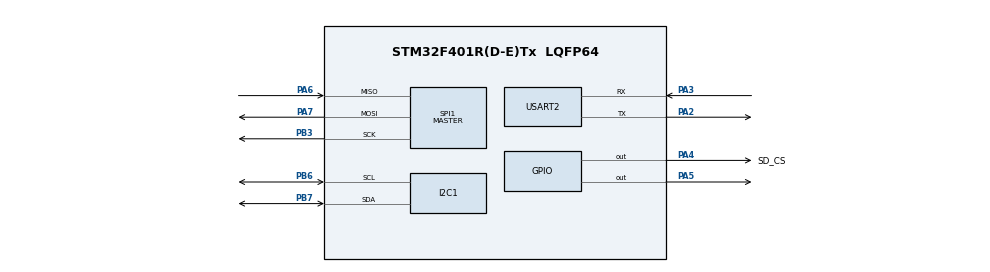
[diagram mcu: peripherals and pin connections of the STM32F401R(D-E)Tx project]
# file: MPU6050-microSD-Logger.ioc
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Dma.I2C1_RX.0.Direction=DMA_PERIPH_TO_MEMORY
Dma.I2C1_RX.0.FIFOMode=DMA_FIFOMODE_DISABLE
Dma.I2C1_RX.0.Instance=DMA1_Stream0
Dma.I2C1_RX.0.MemDataAlignment=DMA_MDATAALIGN_BYTE
Dma.I2C1_RX.0.MemInc=DMA_MINC_ENABLE
Dma.I2C1_RX.0.Mode=DMA_NORMAL
Dma.I2C1_RX.0.PeriphDataAlignment=DMA_PDATAALIGN_BYTE
Dma.I2C1_RX.0.PeriphInc=DMA_PINC_DISABLE
Dma.I2C1_RX.0.Priority=DMA_PRIORITY_MEDIUM
Dma.I2C1_TX.1.Direction=DMA_MEMORY_TO_PERIPH
Dma.I2C1_TX.1.FIFOMode=DMA_FIFOMODE_DISABLE
Dma.I2C1_TX.1.Instance=DMA1_Stream7
Dma.I2C1_TX.1.MemDataAlignment=DMA_MDATAALIGN_BYTE
Dma.I2C1_TX.1.MemInc=DMA_MINC_ENABLE
Dma.I2C1_TX.1.Mode=DMA_NORMAL
Dma.I2C1_TX.1.PeriphDataAlignment=DMA_PDATAALIGN_BYTE
Dma.I2C1_TX.1.PeriphInc=DMA_PINC_DISABLE
Dma.I2C1_TX.1.Priority=DMA_PRIORITY_LOW
Dma.Request0=I2C1_RX
Dma.Request1=I2C1_TX
Dma.Request2=SPI1_RX
Dma.Request3=SPI1_TX
Dma.Request4=USART2_RX
Dma.Request5=USART2_TX
Dma.SPI1_RX.2.Direction=DMA_PERIPH_TO_MEMORY
Dma.SPI1_RX.2.FIFOMode=DMA_FIFOMODE_DISABLE
Dma.SPI1_RX.2.Instance=DMA2_Stream0
Dma.SPI1_RX.2.MemDataAlignment=DMA_MDATAALIGN_BYTE
Dma.SPI1_RX.2.MemInc=DMA_MINC_ENABLE
Dma.SPI1_RX.2.Mode=DMA_NORMAL
Dma.SPI1_RX.2.PeriphDataAlignment=DMA_PDATAALIGN_BYTE
Dma.SPI1_RX.2.PeriphInc=DMA_PINC_DISABLE
Dma.SPI1_RX.2.Priority=DMA_PRIORITY_LOW
Dma.SPI1_TX.3.Direction=DMA_MEMORY_TO_PERIPH
Dma.SPI1_TX.3.FIFOMode=DMA_FIFOMODE_DISABLE
Dma.SPI1_TX.3.Instance=DMA2_Stream3
Dma.SPI1_TX.3.MemDataAlignment=DMA_MDATAALIGN_BYTE
Dma.SPI1_TX.3.MemInc=DMA_MINC_ENABLE
Dma.SPI1_TX.3.Mode=DMA_NORMAL
Dma.SPI1_TX.3.PeriphDataAlignment=DMA_PDATAALIGN_BYTE
Dma.SPI1_TX.3.PeriphInc=DMA_PINC_DISABLE
Dma.SPI1_TX.3.Priority=DMA_PRIORITY_LOW
Dma.USART2_RX.4.Direction=DMA_PERIPH_TO_MEMORY
Dma.USART2_RX.4.FIFOMode=DMA_FIFOMODE_DISABLE
Dma.USART2_RX.4.Instance=DMA1_Stream5
Dma.USART2_RX.4.MemDataAlignment=DMA_MDATAALIGN_BYTE
Dma.USART2_RX.4.MemInc=DMA_MINC_ENABLE
Dma.USART2_RX.4.Mode=DMA_CIRCULAR
Dma.USART2_RX.4.PeriphDataAlignment=DMA_PDATAALIGN_BYTE
Dma.USART2_RX.4.PeriphInc=DMA_PINC_DISABLE
Dma.USART2_RX.4.Priority=DMA_PRIORITY_LOW
Dma.USART2_TX.5.Direction=DMA_MEMORY_TO_PERIPH
Dma.USART2_TX.5.FIFOMode=DMA_FIFOMODE_DISABLE
Dma.USART2_TX.5.Instance=DMA1_Stream6
Dma.USART2_TX.5.MemDataAlignment=DMA_MDATAALIGN_BYTE
Dma.USART2_TX.5.MemInc=DMA_MINC_ENABLE
Dma.USART2_TX.5.Mode=DMA_NORMAL
Dma.USART2_TX.5.PeriphDataAlignment=DMA_PDATAALIGN_BYTE
Dma.USART2_TX.5.PeriphInc=DMA_PINC_DISABLE
Dma.USART2_TX.5.Priority=DMA_PRIORITY_LOW
Mcu.Family=STM32F4
Mcu.Name=STM32F401R(D-E)Tx
Mcu.Package=LQFP64
NVIC.DMA1_Stream0_IRQn=true\:0\:0\:false\:false\:true\:false\:true\:true
NVIC.DMA1_Stream5_IRQn=true\:0\:0\:false\:false\:true\:false\:true\:true
NVIC.DMA1_Stream6_IRQn=true\:0\:0\:false\:false\:true\:false\:true\:true
NVIC.DMA1_Stream7_IRQn=true\:0\:0\:false\:false\:true\:false\:true\:true
NVIC.DMA2_Stream0_IRQn=true\:0\:0\:false\:false\:true\:false\:true\:true
NVIC.DMA2_Stream3_IRQn=true\:0\:0\:false\:false\:true\:false\:true\:true
NVIC.I2C1_ER_IRQn=true\:0\:0\:false\:false\:true\:true\:true\:true
NVIC.I2C1_EV_IRQn=true\:0\:0\:false\:false\:true\:true\:true\:true
NVIC.PriorityGroup=NVIC_PRIORITYGROUP_4
NVIC.SPI1_IRQn=true\:0\:0\:false\:false\:true\:true\:true\:true
NVIC.TIM2_IRQn=true\:0\:0\:false\:false\:true\:true\:true\:true
NVIC.USART2_IRQn=true\:0\:0\:false\:false\:true\:true\:true\:true
PA2.Mode=Asynchronous
PA2.Signal=USART2_TX
PA3.Mode=Asynchronous
PA3.Signal=USART2_RX
PA4.GPIO_Label=SD_CS
PA4.PinState=GPIO_PIN_SET
PA4.Signal=GPIO_Output
PA5.Signal=GPIO_Output
PA6.Mode=Full_Duplex_Master
PA6.Signal=SPI1_MISO
PA7.Mode=Full_Duplex_Master
PA7.Signal=SPI1_MOSI
PB3.Mode=Full_Duplex_Master
PB3.Signal=SPI1_SCK
PB6.Mode=I2C
PB6.Signal=I2C1_SCL
PB7.Mode=I2C
PB7.Signal=I2C1_SDA
PH0\ -\ OSC_IN.Mode=HSE-External-Oscillator
PH0\ -\ OSC_IN.Signal=RCC_OSC_IN
PH1\ -\ OSC_OUT.Mode=HSE-External-Oscillator
PH1\ -\ OSC_OUT.Signal=RCC_OSC_OUT
ProjectManager.HeapSize=0x200
ProjectManager.StackSize=0x400
ProjectManager.TargetToolchain=STM32CubeIDE
RCC.48MHZClocksFreq_Value=42000000
RCC.AHBFreq_Value=84000000
RCC.APB1CLKDivider=RCC_HCLK_DIV2
RCC.APB1Freq_Value=42000000
RCC.APB1TimFreq_Value=84000000
RCC.APB2Freq_Value=84000000
RCC.APB2TimFreq_Value=84000000
RCC.CortexFreq_Value=84000000
RCC.HCLKFreq_Value=84000000
RCC.HSE_VALUE=8000000
RCC.HSI_VALUE=16000000
RCC.LSE_VALUE=32768
RCC.PLLM=4
RCC.PLLN=84
RCC.PLLSourceVirtual=RCC_PLLSOURCE_HSE
RCC.SYSCLKFreq_VALUE=84000000
RCC.SYSCLKSource=RCC_SYSCLKSOURCE_PLLCLK
RCC.VCOOutputFreq_Value=168000000
SPI1.BaudRatePrescaler=SPI_BAUDRATEPRESCALER_256
SPI1.Direction=SPI_DIRECTION_2LINES
SPI1.Mode=SPI_MODE_MASTER
SPI1.VirtualType=VM_MASTER
TIM2.Period=4999
TIM2.Prescaler=8399
USART2.VirtualMode=VM_ASYNC
VP_FATFS_VS_Generic.Mode=User_defined
VP_TIM2_VS_ClockSourceINT.Mode=Internal
board=custom

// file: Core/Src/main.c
/* USER CODE BEGIN Header */
/**
  ******************************************************************************
  * @file     main.c
  * @brief    Main application for the MPU6050 microSD logger.
  * @author		Omar Ahmed
  ******************************************************************************
  * @details  Initializes peripherals and devices, handles timer-driven sampling,
  *           and coordinates sensor buffering, SD operations, and shell commands.
  *           Packs 36 sensor frames into each 512-byte block, with eight padding
  *           bytes set to 0xFF.
  *
  * @attention
  *
  * Copyright (c) 2026 STMicroelectronics.
  * All rights reserved.
  *
  *
  ******************************************************************************
  */
/* USER CODE END Header */
#include "main.h"
#include "fatfs.h"

/* USER CODE BEGIN Includes */
#include "mpu6050.h"
#include "shell.h"
#include "peripheral_config.h"
#include "sd.h"
/* USER CODE END Includes */

/* USER CODE BEGIN PV */
uint8_t next = 0;
uint8_t sd_write_failed = 0;
// USART
//static uint8_t usart_tx_buffer[];

/* USER CODE END PV */

/* USER CODE BEGIN 0 */
/**
* @brief TIM2 interrupt callback. Signal mpu sample every 1000 ms
* @retval None
*/
void HAL_TIM_PeriodElapsedCallback(TIM_HandleTypeDef *htim){

	if (htim->Instance == TIM2){
			i2c_sample_flag = 1;
		HAL_GPIO_TogglePin(GPIOA, GPIO_PIN_5);
	   }
}

/* USER CODE END 0 */

int main(void)
{

  /* MCU Configuration--------------------------------------------------------*/

  /* Reset of all peripherals, Initializes the Flash interface and the Systick. */
  HAL_Init();

  /* Configure the system clock */
  SystemClock_Config();

  /* Initialize all configured peripherals */
  MX_GPIO_Init();
  MX_DMA_Init();
  MX_I2C1_Init();
  MX_SPI1_Init();
  MX_USART2_UART_Init();
  MX_TIM2_Init();
  MX_FATFS_Init();
  /* USER CODE BEGIN 2 */
  sd_init();
  mpu_status_t mpu_result = mpu6050_init();

  if (mpu_result == MPU_OK) {
	  HAL_TIM_Base_Start_IT(&htim2);	 // Enable timer interrupt after the mpu6050 has been
  } else {
      shell_printf("MPU initialization failed: %d\r\n", (int)mpu_result);
  }

  UART_Recieve_Start();

  sd_status_t result;

  shell_printf("\r\nSTM32F401RE shell ready. Type 'help'.\r\n\r\n");
  /* USER CODE END 2 */

  /* Infinite loop */
  while (1)
  {

    /* USER CODE BEGIN 3 */
	  /* Read uart rx when a frame is received */
	  if (uart_rx_ready){
		  uart_rx_ready = 0;
	  	  shell_poll();
	  }

	  /* Display live mpu6050 decoded readings*/
	  if (display_live_mpu) {
		  convert_display_live_sensor();
	  }

	  /* Sample MPU6050 every 1000ms */
	  if (i2c_sample_flag && !sd_buffer_log_flag && !i2c_frame_ready){
		 mpu6050_sample();
		 i2c_sample_flag =0;
	  }

	  /* Save received frame bytes in buffer */
	  if (i2c_frame_ready && !sd_buffer_log_flag && !pause_sd_logging){
		  if(indx <= MPU_LOG_DATA_SIZE-I2C_RX_FRAME_SIZE){
			 for (uint8_t i = 0; i < I2C_RX_FRAME_SIZE; i++){
				  mpu_log_buffer[indx++] = i2c_rx_buffer[i];
			 }
			 i2c_frame_ready = 0;
		  }
		  if (indx == MPU_LOG_DATA_SIZE){	// Check if frame still fits 512 bytes
			 for (uint16_t i = MPU_LOG_DATA_SIZE; i < LOG_BUFFER_SIZE; i++){
				 mpu_log_buffer[i] = 0xFF;
			  }
			  sd_buffer_log_flag = 1;		// Flag SD writing
			  shell_printf("\r\nSensor log data ready.\r\n");

		  }
	  }

	  /* Fill write buffer when log buffer is full */
	  if (sd_buffer_log_flag && !sd_write_flag && !pause_sd_logging){
		  for (uint16_t i = 0; i<LOG_BUFFER_SIZE; i++){
		  sd_write_buffer[i]=mpu_log_buffer[i];
		  }
		  shell_printf("SD write buffer filled with sensor data.\r\n");
		  indx = 0;
		  sd_buffer_log_flag = 0;
		  sd_write_flag = 1;

	  }

	  /* Write buffer in SD */
	  if (sd_write_flag && !sd_write_failed
			  && !sd_read_request_in_progress &&
			  (!pause_sd_logging || sd_write_in_progress)){		// Pause a new start not an active one

		  if (!sd_write_in_progress){
			  result = sd_write_block(sd_write_buffer);
		  }
		  else{
			  result = sd_write_poll();

		  }

		  if(result == SD_OK){
			  sd_write_flag = 0;
			  sd_write_in_progress = 0;
			  shell_printf("Data block written in card.\r\n");
		  }
		  else if (result != SD_BUSY){
			  sd_write_failed = 1;
			  shell_printf("\r\nSD write failed: %d\r\n", result);
		  }
	  }

	  /* Read and print block from SD */
	  if (sd_read_flag && !sd_read_failed && !sd_write_in_progress){
		  if(!sd_read_request_in_progress){
			  result = sd_request_block(sd_rx_block);
		  }
		  else{
			  result = sd_read_block();
		  }
		  if(result == SD_OK){
			  shell_printf("Block %u read successfully:\r\n", sd_read_block); //print block address
			  decode_print_sd_rx_block(sd_read_buffer);
		  }
		  else if (result != SD_BUSY){
			  sd_read_failed = 1;
			  sd_read_flag = 0;
			  shell_printf("SD block read failed: %d\r\n", result);
		  }
	  }

	  /* Print overrun error if the timer ticked while the i2c was receiving */
	  if (i2c_overrun_count > 0){
	      shell_printf("I2C sample overrun: %u!\r\n", i2c_overrun_count);
	  }

  }
  /* USER CODE END 3 */
}
